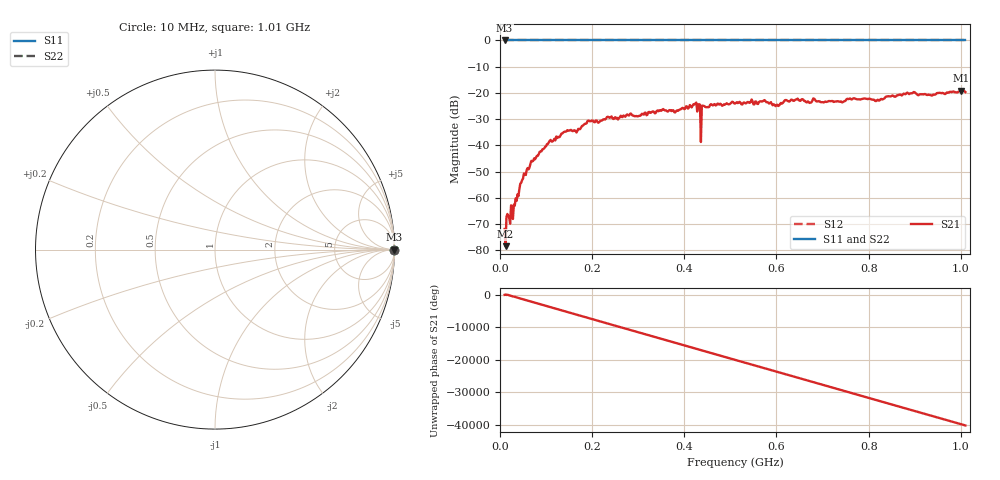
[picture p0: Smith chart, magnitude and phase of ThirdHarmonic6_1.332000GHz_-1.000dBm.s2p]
! 8/16/2025 2:54:04 PM
! C:\ANRITSUVNA\TEMP\TEMP.S2P
! CHANNEL.1
! TR.MEASUREMENT
! RAW.DATA
! RF.CORRECTION.OFF
! AVERAGING.OFF
! IF.BANDWIDTH: 5KHZ
! SWEEPTYPE:  FREQ.SWEEP(Linear)
! Reference Plane Port Info
! PORT:  PORT1  PORT2
! DISTANCE:  0  m  0  m
! TIME:  0  s  0  s
! PHASE.OFFSET:  0  deg.  0  deg.
! LOSS:  0  dB  0  dB
! REF.LOSS:  0  dB  0  dB
! REF.FREQ:  0  Hz  0  Hz
! Power Info
! POWER:  -20  dBm  -20  dBm
! EFF.POWER:  -20  dBm  -20  dBm
! SOURCE.ATTEN:  0  dB  0  dB
! TEST.ATTEN:  0  dB  0  dB
# GHZ S RI R 50.0
! FREQ.GHZ  S11RE  S11IM  S21RE  S21IM  S12RE  S12IM  S22RE  S22IM
!; PortSelection: Port_12
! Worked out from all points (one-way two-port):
!   501 points, 10 MHz to 1.01 GHz, reference 50 ohm
!   highest |S21| = -19.19 dB at 1 GHz (marker M1); lowest = -78.4 dB at 12 MHz (marker M2)
!   lowest |S11| = 0.0 dB at 10 MHz (marker M3)
!   |S11| at or under -10 dB: nowhere
!   |S22| runs from 0.0 to 0.0 dB; largest |S21 - S12| = 1.1
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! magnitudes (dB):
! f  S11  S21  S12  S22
! 10 MHz  0.0  -71.9  0.0  0.0
! 12 MHz  0.0  -78.4  0.0  0.0
! 32 MHz  0.0  -63.0  0.0  0.0
! 48 MHz  0.0  -53.3  0.0  0.0
! 70 MHz  0.0  -46.1  0.0  0.0
! 106 MHz  0.0  -38.8  0.0  0.0
! 178 MHz  0.0  -32.6  0.0  0.0
! 194 MHz  0.0  -30.7  0.0  0.0
! 344 MHz  0.0  -27.0  0.0  0.0
! 382 MHz  0.0  -27.0  0.0  0.0
! 422 MHz  0.0  -24.4  0.0  0.0
! 430 MHz  0.0  -24.4  0.0  0.0
! 432 MHz  0.0  -24.3  0.0  0.0
! 440 MHz  0.0  -24.9  0.0  0.0
! 442 MHz  0.0  -24.9  0.0  0.0
! 510 MHz  0.0  -24.1  0.0  0.0
! 602 MHz  0.0  -24.5  0.0  0.0
! 620 MHz  0.0  -22.7  0.0  0.0
! 678 MHz  0.0  -22.9  0.0  0.0
! 844 MHz  0.0  -21.3  0.0  0.0
! 1 GHz  0.0  -19.2  0.0  0.0
! 1.01 GHz  0.0  -19.7  0.0  0.0
